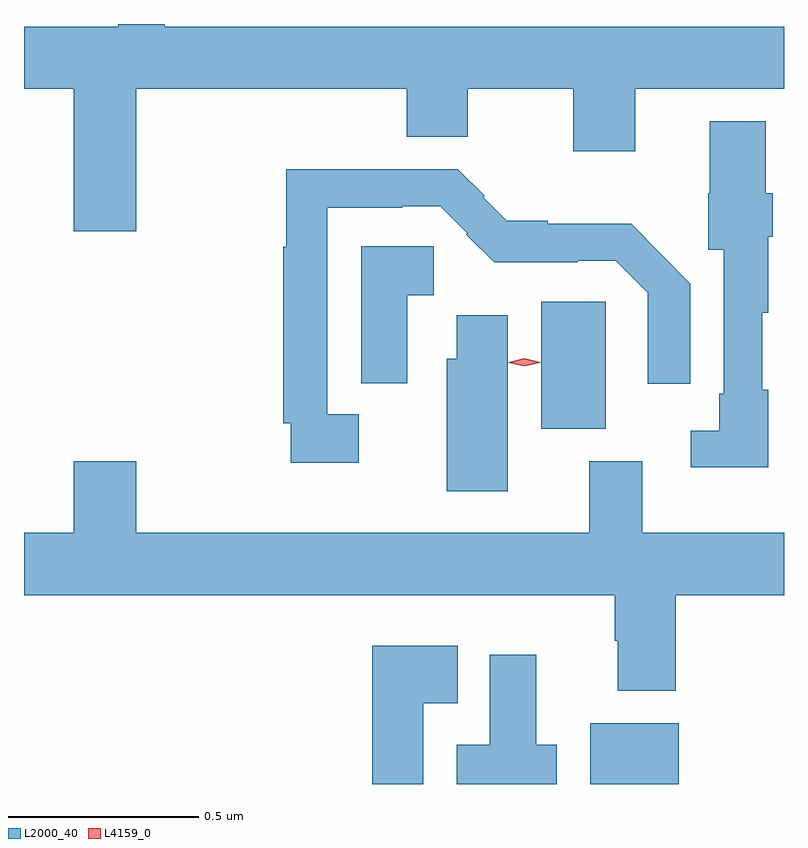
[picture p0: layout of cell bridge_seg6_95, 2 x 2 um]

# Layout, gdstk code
import gdstk
lib = gdstk.Library(unit=1e-6, precision=1e-09)
def R(c, l, rs):  # rectangles x0, y0, x1, y1
    for r in rs: c.add(gdstk.rectangle(r[:2], r[2:], *l))
def P(c, l, *ps):  # polygons
    for p in ps: c.add(gdstk.Polygon(p, *l))
L2000_40 = (2000, 40)
L4159_0 = (4159, 0)

bridge_seg6_95 = lib.new_cell('bridge_seg6_95')
R(bridge_seg6_95, L2000_40, [(681.851,917.535,682.084,917.695), (681.722,918.47,681.892,918.804)])
P(bridge_seg6_95, L2000_40, [(680.656,919.364),(681.368,919.364),(681.368,919.238),(681.529,919.238),(681.529,919.364),(681.806,919.364),(681.806,919.2),(681.97,919.2),(681.97,919.364),(682.361,919.364),(682.361,919.528),(680.731,919.528),(680.731,919.535),(680.609,919.535),(680.609,919.528),(680.361,919.528),(680.361,919.364),(680.492,919.364),(680.492,918.99),(680.656,918.99)],
  [(682.319,918.572),(682.304,918.572),(682.304,918.775),(682.319,918.775),(682.319,918.975),(682.331,918.975),(682.331,919.089),(682.313,919.089),(682.313,919.279),(682.166,919.279),(682.166,919.089),(682.161,919.089),(682.161,918.941),(682.203,918.941),(682.203,918.562),(682.191,918.562),(682.191,918.465),(682.116,918.465),(682.116,918.368),(682.319,918.368)],
  [(681.242,918.508),(681.159,918.508),(681.159,919.052),(681.356,919.052),(681.356,919.056),(681.456,919.056),(681.528,918.984),(681.525,918.981),(681.599,918.908),(681.818,918.908),(681.818,918.912),(681.918,918.912),(682.002,918.828),(682.002,918.588),(682.114,918.588),(682.114,918.852),(682.04,918.926),(682.041,918.927),(681.959,919.009),(681.739,919.009),(681.739,919.017),(681.631,919.017),(681.569,919.079),(681.573,919.083),(681.503,919.153),(681.051,919.153),(681.051,918.949),(681.043,918.949),(681.043,918.484),(681.063,918.484),(681.063,918.38),(681.242,918.38)],
  [(681.37,918.821),(681.439,918.821),(681.439,918.95),(681.248,918.95),(681.248,918.589),(681.37,918.589)],
  [(681.634,918.769),(681.5,918.769),(681.5,918.654),(681.473,918.654),(681.473,918.306),(681.634,918.306)],
  [(682.076,918.032),(682.361,918.032),(682.361,918.196),(681.988,918.196),(681.988,918.385),(681.848,918.385),(681.848,918.196),(680.656,918.196),(680.656,918.385),(680.492,918.385),(680.492,918.196),(680.361,918.196),(680.361,918.032),(681.916,918.032),(681.916,917.912),(681.923,917.912),(681.923,917.78),(682.076,917.78)],
  [(681.412,917.747),(681.502,917.747),(681.502,917.899),(681.278,917.899),(681.278,917.535),(681.412,917.535)],
  [(681.763,917.638),(681.709,917.638),(681.709,917.875),(681.587,917.875),(681.587,917.638),(681.5,917.638),(681.5,917.535),(681.763,917.535)])
P(bridge_seg6_95, L4159_0, [(681.678,918.635),(681.636,918.644),(681.636,918.645),(681.636,918.645),(681.678,918.655),(681.719,918.645),(681.719,918.645),(681.719,918.644)])

lib.write_gds('bridge_seg6_95.gds')
